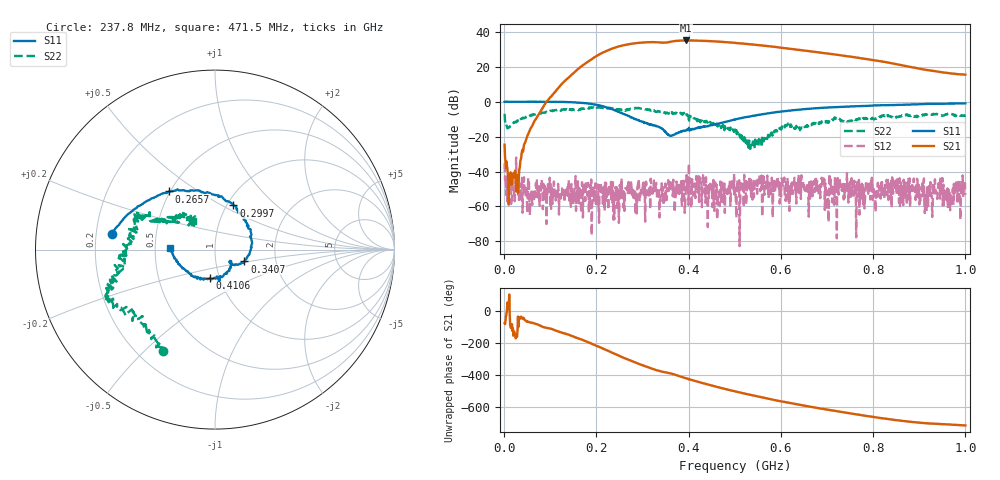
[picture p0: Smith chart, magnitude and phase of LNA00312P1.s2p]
! Created with skrf 1.9.0 (http://scikit-rf.org).
# Hz S RI R 50.0
!freq ReS11 ImS11 ReS21 ImS21 ReS12 ImS12 ReS22 ImS22
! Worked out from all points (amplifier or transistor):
!   1001 points, 1 MHz to 1 GHz, reference 50 ohm
!   highest |S21| = 35.1 dB at 394.6 MHz (marker M1)
!   |S21| within 3 dB of that: 255.1 MHz to 563.2 MHz (308 MHz wide, 75.3 % of centre)
!   unconditionally stable (mu >= 1): start of sweep to 81.01 MHz; 221.8 MHz to 400.4 MHz; 400.9 MHz to end of sweep (the widest 3 of 33)
!   at 166.8 MHz: K = 5.62, MAG = 31.4 dB, |S12| = -63.6 dB
!   at 500.5 MHz: K = 2.80, MAG = 34.2 dB, |S12| = -49.4 dB
!   at 1 GHz: K = 6.57, MAG = 23.2 dB, |S12| = -53.2 dB
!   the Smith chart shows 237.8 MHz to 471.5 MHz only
!   S11 on the Smith chart (normalised r, x): 237.8 MHz: 0.27, +0.07; 265.7 MHz: 0.49, +0.39; 299.7 MHz: 1.07, +0.57; 340.7 MHz: 1.38, -0.19; 410.6 MHz: 0.90, -0.29; 471.5 MHz: 0.60, +0.01
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1000000  0.9924 0.0174  0.0147 -0.0571  -0.0106 0.0135  0.3047 0.3297
1.08892e8  0.5138 -0.8484  -0.8609 -1.599  -0.000232 -0.00354  0.4179 -0.3717
1.67833e8  -0.2473 -0.8912  -10.37 -0.3692  -0.000583 -0.00176  0.0245 -0.6408
2.07793e8  -0.6582 -0.3996  -15.97 16.7  0.00123 -0.00329  -0.1933 -0.6579
2.37763e8  -0.5756 0.089  -2.724 34.45  0.00246 -0.000104  -0.292 -0.5658
2.65735e8  -0.2556 0.3242  21.79 36.93  0.00134 0.0028  -0.4604 -0.3975
2.99701e8  0.1027 0.2457  46.23 17.72  -0.00177 0.00133  -0.595 -0.2453
3.18682e8  0.1984 0.102  50.88 1.279  -0.000702 0.00407  -0.5326 -0.121
3.34666e8  0.1898 -0.0301  48.57 -12  0.000453 0.00192  -0.5275 -0.0612
3.4066e8  0.1634 -0.0662  46.86 -15.68  -0.00193 0.002  -0.4888 -0.0158
3.68632e8  0.0907 -0.0704  43.19 -32.78  -0.00321 0.00168  -0.4478 0.1434
3.94606e8  0.0481 -0.144  27.3 -49.63  -0.0039 0.00346  -0.431 0.1754
4.1059e8  -0.0274 -0.1592  14.4 -54.52  0.00205 -2.37e-05  -0.3094 0.1523
4.39561e8  -0.1567 -0.1206  -8.014 -54.12  0.00354 0.00143  -0.181 0.1898
4.71529e8  -0.2488 0.00843  -27.65 -43.67  0.000683 0.000917  -0.1228 0.1582
5.005e8  -0.2612 0.1587  -38.75 -29.12  -0.00337 -0.000369  -0.1128 0.1135
5.4046e8  -0.1729 0.353  -42.27 -7.953  0.00419 -0.00433  -0.0435 0.0289
5.88412e8  0.039 0.4963  -34.76 12.02  0.0033 -0.00225  -0.1162 -0.0792
6.67333e8  0.4118 0.4857  -12.96 23.79  -0.000562 -0.00535  -0.2284 -0.0476
7.53247e8  0.6837 0.2666  4.192 18.79  0.0027 -0.00587  -0.2768 0.00264
8.34166e8  0.7968 0.00471  9.622 8.85  -0.00104 -0.00186  -0.3869 0.0474
1e9  0.7215 -0.5339  5.938 0.3221  0.00146 -0.00162  -0.2184 0.3288
